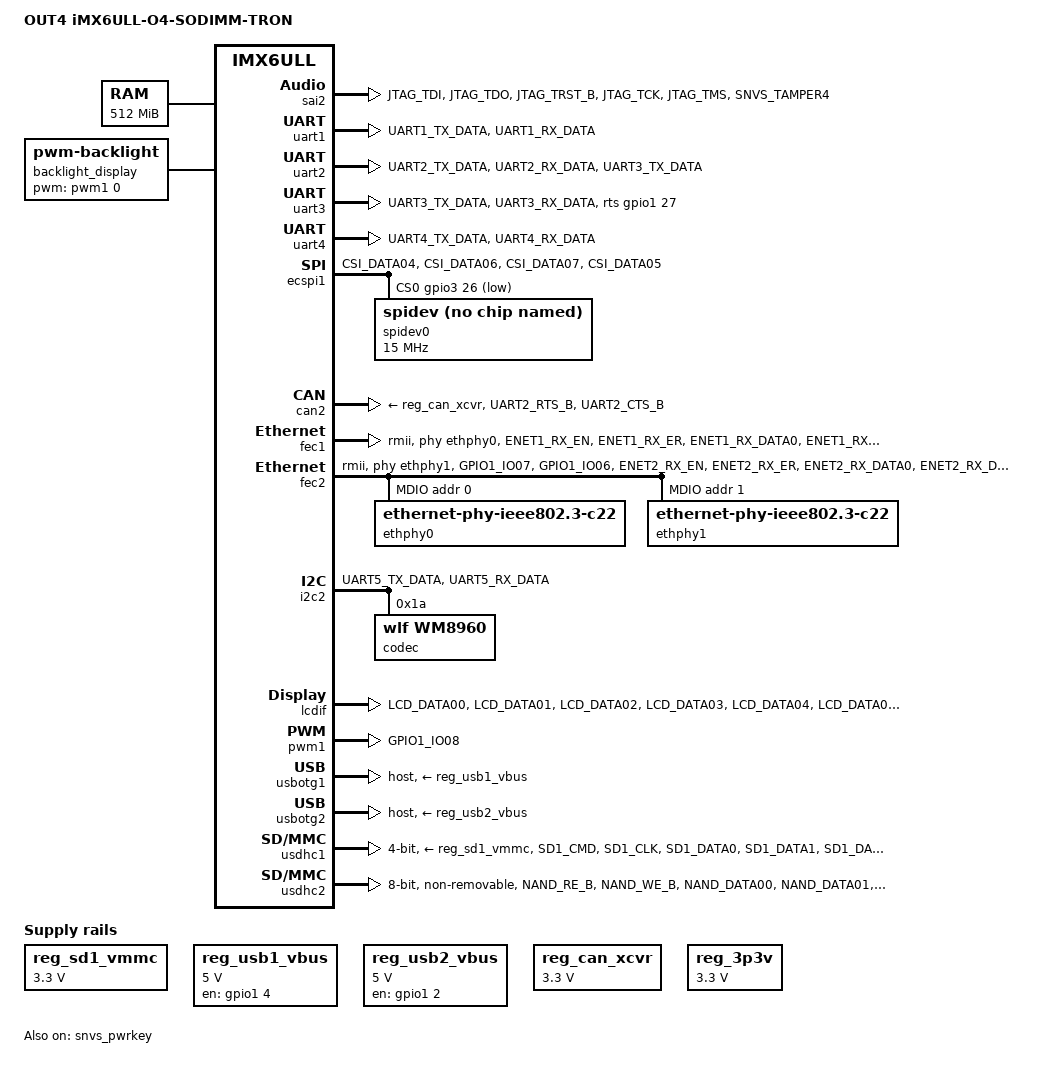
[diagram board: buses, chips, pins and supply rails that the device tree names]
/*
 * Copyright (C) 2015 Freescale Semiconductor, Inc.
 *
 * This program is free software; you can redistribute it and/or modify
 * it under the terms of the GNU General Public License version 2 as
 * published by the Free Software Foundation.
 */

 /*
  * EV-iMX6UL-NANO module Rusar-V12
  * www.evodbg.com
  * contact  r.sariev@evodbg.com
  */

/dts-v1/;

#include "imx6ull.dtsi"

/ {
        model = "OUT4 iMX6ULL-O4-SODIMM-TRON";
        compatible = "fsl,imx6ull-14x14-evk", "fsl,imx6ull";

        memory {
                reg = <0x80000000 0x20000000>;
        };

        chosen {
                stdout-path = &uart1;
        };

        backlight_display: backlight-display {
                        compatible = "pwm-backlight";
                        pwms = <&pwm1 0 5000000>;
                        brightness-levels = <0 4 8 16 32 64 128 255>;
                        default-brightness-level = <6>;
                        status = "okay";
        };


        reg_sd1_vmmc: regulator-sd1 {
                        compatible = "regulator-fixed";
                        reg = <1>;
                        regulator-name = "VSD_3V3";
                        regulator-min-microvolt = <3300000>;
                        regulator-max-microvolt = <3300000>;
                        regulator-always-on;
                };

        reg_usb1_vbus: regulator-usb1 {
                        compatible = "regulator-fixed";
                        reg = <2>;
                        regulator-name = "usb1_vbus";
                        regulator-min-microvolt = <5000000>;
                        regulator-max-microvolt = <5000000>;
                        gpio = <&gpio1 4 GPIO_ACTIVE_HIGH>;
			            enable-active-high;
                        regulator-always-on;
                };


        reg_usb2_vbus: regulator-usb2 {
                        compatible = "regulator-fixed";
                        reg = <3>;
                        regulator-name = "usb2_vbus";
                        regulator-min-microvolt = <5000000>;
                        regulator-max-microvolt = <5000000>;
                        gpio = <&gpio1 2 GPIO_ACTIVE_HIGH>;
			            enable-active-high;
                        regulator-always-on;
                };

        reg_can_xcvr: regulator-canxcvr {
                        compatible = "regulator-fixed";
                        reg = <4>;
                        regulator-name = "CAN XCVR";
                        regulator-min-microvolt = <3300000>;
                        regulator-max-microvolt = <3300000>;
                        regulator-always-on;
    		    };

    	reg_3p3v: regulator-3p3v {
                        compatible = "regulator-fixed";
                        reg = <9>;
                        regulator-name = "3P3V";
                        regulator-min-microvolt = <3300000>;
                        regulator-max-microvolt = <3300000>;
                        regulator-always-on;
                        regulator-boot-on;
                };

        sound {
                compatible = "simple-audio-card";
                simple-audio-card,name = "mx6ul-wm8960";
                simple-audio-card,format = "i2s";
                simple-audio-card,bitclock-master = <&dailink_master>;
                simple-audio-card,frame-master = <&dailink_master>;
                simple-audio-card,widgets =
                        "Microphone", "Mic Jack",
                        "Line", "Line In",
                        "Line", "Line Out",
                        "Speaker", "Speaker",
                        "Headphone", "Headphone Jack";
                simple-audio-card,routing =
                        "Headphone Jack", "HP_L",
                        "Headphone Jack", "HP_R",
                        "Speaker", "SPK_LP",
                        "Speaker", "SPK_LN",
                        "Speaker", "SPK_RP",
                        "Speaker", "SPK_RN",
                        "LINPUT1", "Mic Jack",
                        "LINPUT3", "Mic Jack",
                        "RINPUT1", "Mic Jack",
                        "RINPUT2", "Mic Jack";

                simple-audio-card,cpu {
                        sound-dai = <&sai2>;
                };

                dailink_master: simple-audio-card,codec {
                        sound-dai = <&codec>;
                        clocks = <&clks IMX6UL_CLK_SAI2>;
                };
        };

};

&sai2 {
        pinctrl-names = "default";
        pinctrl-0 = <&pinctrl_sai2>;
        assigned-clocks = <&clks IMX6UL_CLK_SAI2_SEL>,
                          <&clks IMX6UL_CLK_SAI2>;
        assigned-clock-parents = <&clks IMX6UL_CLK_PLL4_AUDIO_DIV>;
        assigned-clock-rates = <0>, <12288000>;
        fsl,sai-mclk-direction-output;
        status = "okay";
};

&snvs_poweroff {
        status = "okay";
};

&snvs_pwrkey {
        status = "okay";
};




&clks {
	    assigned-clocks = <&clks IMX6UL_CLK_PLL4_AUDIO_DIV>;
	    assigned-clock-rates = <786432000>;
};


&uart1 {                                        // DUART console  pins 13+15
        pinctrl-names = "default";
        pinctrl-0 = <&pinctrl_uart1>;
        status = "okay";
};


&uart2 {                                        // UART2 - RS485 interface pins 17+19+50 (mux with CAN)
        pinctrl-names = "default";
        pinctrl-0 = <&pinctrl_uart2>;
        status = "okay";
};

&uart3 {                                        // UART3 - pins 21 + 23
        pinctrl-names = "default";
        pinctrl-0 = <&pinctrl_uart3>;
        fsl,uart-has-rtscts;
        rts-gpios = <&gpio1 27  GPIO_ACTIVE_HIGH>;
        linux,rs485-enabled-at-boot-time;
        status = "okay";
};

&uart4 {                                        // UART4 - pins 28 + 30
        pinctrl-names = "default";
        pinctrl-0 = <&pinctrl_uart4>;
        status = "okay";
};


&ecspi1 {   
        fsl,spi-num-chipselects = <1>;          
        cs-gpios = <&gpio3 26 GPIO_ACTIVE_LOW
		            >;
        pinctrl-names = "default";
        pinctrl-0 = <&pinctrl_ecspi1>;
        status = "okay";

        spidev0: spi@0 {
                compatible = "spidev";
                reg = <0>;
                spi-max-frequency = <15000000>;
                };
};


&can2 {
        pinctrl-names = "default";              
        pinctrl-0 = <&pinctrl_flexcan2>;
        xceiver-supply = <&reg_can_xcvr>;
        status = "okay";
};


&fec1 {
        pinctrl-names = "default";
        pinctrl-0 = <&pinctrl_enet1>;
        phy-mode = "rmii";
        phy-handle = <&ethphy0>;
        phy-reset-gpios = <&gpio5 1 GPIO_ACTIVE_LOW>;
        phy-reset-duration = <100>;
        status = "okay";
};



&fec2 {
        pinctrl-names = "default";
        pinctrl-0 = <&pinctrl_enet2>;
        phy-mode = "rmii";
        phy-handle = <&ethphy1>;
        status = "okay";

        mdio {
                #address-cells = <1>;
                #size-cells = <0>;

                ethphy0: ethernet-phy@0 {
                        compatible = "ethernet-phy-ieee802.3-c22";
                        reg = <0>;
                };

                ethphy1: ethernet-phy@1 {
                        compatible = "ethernet-phy-ieee802.3-c22";
                        reg = <1>;
                };
        };
};

&gpc {
        fsl,cpu_pupscr_sw2iso = <0x1>;
        fsl,cpu_pupscr_sw = <0x0>;
        fsl,cpu_pdnscr_iso2sw = <0x1>;
        fsl,cpu_pdnscr_iso = <0x1>;
        fsl,ldo-bypass = <0>; /* DCDC, ldo-enable */
};

&i2c2 {
        clock_frequency = <400000>;
        pinctrl-names = "default";
        pinctrl-0 = <&pinctrl_i2c2>;
        status = "okay";

	    codec: wm8960@1a {
                #sound-dai-cells = <0>;
                compatible = "wlf,wm8960";
                reg = <0x1a>;
                wlf,shared-lrclk;
        };

};

&lcdif {
        assigned-clocks = <&clks IMX6UL_CLK_LCDIF_PRE_SEL>;
        assigned-clock-parents = <&clks IMX6UL_CLK_PLL5_VIDEO_DIV>;
        pinctrl-names = "default";
        pinctrl-0 = <&pinctrl_lcdif_dat
                     &pinctrl_lcdif_ctrl>;
        status = "okay";

        display0: display0 {
                                        bits-per-pixel = <32>;
                                        bus-width = <24>;

                                        display-timings {
                                                native-mode = <&timing0>;
                                                timing0: timing0 {
                                                        clock-frequency = <35000000>;
                                                        hactive = <800>;
                                                        vactive = <480>;
                                                        hfront-porch = <40>;
                                                        hback-porch = <40>;
                                                        hsync-len = <48>;
                                                        vback-porch = <29>;
                                                        vfront-porch = <13>;
                                                        vsync-len = <3>;

                                                        hsync-active = <0>;
                                                        vsync-active = <0>;
                                                        de-active = <1>;
                                                        pixelclk-active = <0>;

                                                };
                                        };
                                };
};

&pwm1 {
        #pwm-cells = <2>;
        pinctrl-names = "default";
        pinctrl-0 = <&pinctrl_pwm1>;
        status = "okay";
};



&usbotg1 {
        dr_mode = "host";
        srp-disable;
        hnp-disable;
        adp-disable;
        vbus-supply = <&reg_usb1_vbus>;
        status = "okay";
};

&usbotg2 {
        vbus-supply = <&reg_usb2_vbus>;
        dr_mode = "host";
        disable-over-current;
        status = "okay";
};

&usbphy1 {
        tx-d-cal = <0x5>;
};

&usbphy2 {
        tx-d-cal = <0x5>;
};


&usdhc1 {
        #address-cells = <1>;
        #size-cells = <0>;
        pinctrl-names = "default";
        pinctrl-0 = <&pinctrl_usdhc1>;
        bus-width = <4>;
        cd-gpios = <&gpio1 19 GPIO_ACTIVE_LOW>;
        keep-power-in-suspend;
        wakeup-source;
        vmmc-supply = <&reg_sd1_vmmc>;
        status = "okay";
};

&usdhc2 {
        pinctrl-names = "default";
        pinctrl-0 = <&pinctrl_usdhc2>;
        bus-width = <8>;
        no-1-8-v;
        non-removable;
        keep-power-in-suspend;
        enable-sdio-wakeup;
        status = "okay";
};

&iomuxc {
        pinctrl-names = "default";
        pinctrl-0 = <&pinctrl_hog>;
        pinctrl_hog: hoggrp {
                        fsl,pins = <

// Main Connector                                                                     Module pin

                                // MX6UL_PAD_SD1_CLK__GPIO2_IO17                          4
                                // MX6UL_PAD_SD1_CMD__GPIO2_IO16                          6
                                // MX6UL_PAD_GPIO1_IO00__GPIO1_IO00                       7
                                // MX6UL_PAD_SD1_DATA0__GPIO2_IO18                        8
                                // MX6UL_PAD_SD1_DATA1__GPIO2_IO19                       10
                                // MX6UL_PAD_SD1_DATA2__GPIO2_IO20                       12
                                // MX6UL_PAD_UART1_RX_DATA__GPIO1_IO17                   13
                                // MX6UL_PAD_SD1_DATA3__GPIO2_IO21                       14
                                // MX6UL_PAD_UART1_TX_DATA__GPIO1_IO16                   15
                                // MX6UL_PAD_UART1_RTS_B__GPIO1_IO19                     16
                                // MX6UL_PAD_UART2_RX_DATA__GPIO1_IO21                   17
                                // MX6UL_PAD_CSI_DATA04__GPIO4_IO25                      18
                                // MX6UL_PAD_UART2_TX_DATA__GPIO1_IO20                   19
                                // MX6UL_PAD_CSI_DATA07__GPIO4_IO28                      20
                                // MX6UL_PAD_UART3_RX_DATA__GPIO1_IO25                   21
                                // MX6UL_PAD_CSI_DATA06__GPIO4_IO27                      22
                                // MX6UL_PAD_UART3_TX_DATA__GPIO1_IO24                   23
                                // MX6UL_PAD_CSI_DATA05__GPIO4_IO26                      24
                                // MX6UL_PAD_CSI_PIXCLK__GPIO4_IO18                      25
                                // MX6UL_PAD_LCD_DATA05__GPIO3_IO10                      26
                                // MX6UL_PAD_CSI_MCLK__GPIO4_IO17                        27
                                // MX6UL_PAD_UART4_RX_DATA__GPIO1_IO29                   28
                                // MX6UL_PAD_UART4_TX_DATA__GPIO1_IO28                   30
                                // MX6UL_PAD_UART3_RTS_B__GPIO1_IO27                     32
                                // MX6UL_PAD_CSI_DATA02__GPIO4_IO23                      34
                                // MX6UL_PAD_CSI_DATA01__GPIO4_IO22                      36
                                // MX6UL_PAD_CSI_DATA00__GPIO4_IO21                      38
                                // MX6UL_PAD_CSI_HSYNC__GPIO4_IO20                       40
                                // MX6UL_PAD_CSI_VSYNC__GPIO4_IO19                       42
                                // MX6UL_PAD_LCD_DATA09__GPIO3_IO14                      44
                                // MX6UL_PAD_LCD_DATA08__GPIO3_IO13                      46
                                // MX6UL_PAD_UART2_RTS_B__GPIO1_IO23                     48
                                // MX6UL_PAD_UART2_CTS_B__GPIO1_IO22                     50
                                        
                        >;
                };
              
                pinctrl_enet1: enet1grp {
                        fsl,pins = <
                                MX6UL_PAD_ENET1_RX_EN__ENET1_RX_EN      0x1b0b0
                                MX6UL_PAD_ENET1_RX_ER__ENET1_RX_ER      0x1b0b0
                                MX6UL_PAD_ENET1_RX_DATA0__ENET1_RDATA00 0x1b0b0
                                MX6UL_PAD_ENET1_RX_DATA1__ENET1_RDATA01 0x1b0b0
                                MX6UL_PAD_ENET1_TX_EN__ENET1_TX_EN      0x1b0b0
                                MX6UL_PAD_ENET1_TX_DATA0__ENET1_TDATA00 0x1b0b0
                                MX6UL_PAD_ENET1_TX_DATA1__ENET1_TDATA01 0x1b0b0
                                MX6UL_PAD_ENET1_TX_CLK__ENET1_REF_CLK1  0x4001b031
                                MX6UL_PAD_SNVS_TAMPER1__GPIO5_IO01      0x0b0b0
                        >;
                };

                pinctrl_enet2: enet2grp {
                        fsl,pins = <
                                MX6UL_PAD_GPIO1_IO07__ENET2_MDC         0x1b0b0
                                MX6UL_PAD_GPIO1_IO06__ENET2_MDIO        0x1b0b0
                                MX6UL_PAD_ENET2_RX_EN__ENET2_RX_EN      0x1b0b0
                                MX6UL_PAD_ENET2_RX_ER__ENET2_RX_ER      0x1b0b0
                                MX6UL_PAD_ENET2_RX_DATA0__ENET2_RDATA00 0x1b0b0
                                MX6UL_PAD_ENET2_RX_DATA1__ENET2_RDATA01 0x1b0b0
                                MX6UL_PAD_ENET2_TX_EN__ENET2_TX_EN      0x1b0b0
                                MX6UL_PAD_ENET2_TX_DATA0__ENET2_TDATA00 0x1b0b0
                                MX6UL_PAD_ENET2_TX_DATA1__ENET2_TDATA01 0x1b0b0
                                MX6UL_PAD_ENET2_TX_CLK__ENET2_REF_CLK2  0x4001b031
                        >;
                };

                pinctrl_lcdif_dat: lcdifdatgrp {
                        fsl,pins = <
                                MX6UL_PAD_LCD_DATA00__LCDIF_DATA00  0x79
                                MX6UL_PAD_LCD_DATA01__LCDIF_DATA01  0x79
                                MX6UL_PAD_LCD_DATA02__LCDIF_DATA02  0x79
                                MX6UL_PAD_LCD_DATA03__LCDIF_DATA03  0x79
                                MX6UL_PAD_LCD_DATA04__LCDIF_DATA04  0x79
                                MX6UL_PAD_LCD_DATA05__LCDIF_DATA05  0x79
                                MX6UL_PAD_LCD_DATA06__LCDIF_DATA06  0x79
                                MX6UL_PAD_LCD_DATA07__LCDIF_DATA07  0x79
                                MX6UL_PAD_LCD_DATA08__LCDIF_DATA08  0x79
                                MX6UL_PAD_LCD_DATA09__LCDIF_DATA09  0x79
                                MX6UL_PAD_LCD_DATA10__LCDIF_DATA10  0x79
                                MX6UL_PAD_LCD_DATA11__LCDIF_DATA11  0x79
                                MX6UL_PAD_LCD_DATA12__LCDIF_DATA12  0x79
                                MX6UL_PAD_LCD_DATA13__LCDIF_DATA13  0x79
                                MX6UL_PAD_LCD_DATA14__LCDIF_DATA14  0x79
                                MX6UL_PAD_LCD_DATA15__LCDIF_DATA15  0x79
                                MX6UL_PAD_LCD_DATA16__LCDIF_DATA16  0x79
                                MX6UL_PAD_LCD_DATA17__LCDIF_DATA17  0x79
                                MX6UL_PAD_LCD_DATA18__LCDIF_DATA18  0x79
                                MX6UL_PAD_LCD_DATA19__LCDIF_DATA19  0x79
                                MX6UL_PAD_LCD_DATA20__LCDIF_DATA20  0x79
                                MX6UL_PAD_LCD_DATA21__LCDIF_DATA21  0x79
                                MX6UL_PAD_LCD_DATA22__LCDIF_DATA22  0x79
                                MX6UL_PAD_LCD_DATA23__LCDIF_DATA23  0x79
                        >;
                };

                pinctrl_lcdif_ctrl: lcdifctrlgrp {
                        fsl,pins = <
                                MX6UL_PAD_LCD_CLK__LCDIF_CLK        0x79
                                MX6UL_PAD_LCD_ENABLE__LCDIF_ENABLE  0x79
                                MX6UL_PAD_LCD_HSYNC__LCDIF_HSYNC    0x79
                                MX6UL_PAD_LCD_VSYNC__LCDIF_VSYNC    0x79
                        >;
                };

                pinctrl_pwm1: pwm1grp {
                        fsl,pins = <
                                MX6UL_PAD_GPIO1_IO08__PWM1_OUT   0x110b0
                        >;
                };



		        pinctrl_i2c2: i2c2grp {
                        fsl,pins = <
                                       
                                MX6UL_PAD_UART5_TX_DATA__I2C2_SCL       0x4001b8b0 
                                MX6UL_PAD_UART5_RX_DATA__I2C2_SDA       0x4001b8b0
                        >;
                };

                pinctrl_ecspi1: spi1grp {
                        fsl,pins = <
                                MX6UL_PAD_CSI_DATA04__ECSPI1_SCLK       0x1b0b1
                                MX6UL_PAD_CSI_DATA06__ECSPI1_MOSI       0x1b0b1
                                MX6UL_PAD_CSI_DATA07__ECSPI1_MISO       0x1b0b1
                                MX6UL_PAD_CSI_DATA05__GPIO4_IO26        0x1b0b0         // SPI1_SS0
                        >;
                };

                pinctrl_sai2: sai2grp {
                        fsl,pins = <
                                MX6UL_PAD_JTAG_TDI__SAI2_TX_BCLK        0x17088
                                MX6UL_PAD_JTAG_TDO__SAI2_TX_SYNC        0x17088
                                MX6UL_PAD_JTAG_TRST_B__SAI2_TX_DATA     0x11088
                                MX6UL_PAD_JTAG_TCK__SAI2_RX_DATA        0x11088
                                MX6UL_PAD_JTAG_TMS__SAI2_MCLK           0x17088
                                MX6UL_PAD_SNVS_TAMPER4__GPIO5_IO04      0x17059
                    >;
                };


                pinctrl_uart1: uart1grp {
                        fsl,pins = <
                                MX6UL_PAD_UART1_TX_DATA__UART1_DCE_TX   0x1b0b1           
                                MX6UL_PAD_UART1_RX_DATA__UART1_DCE_RX   0x1b0b1
                        >;
                };

                pinctrl_uart2: uart2grp {
                        fsl,pins = <
                                MX6UL_PAD_UART2_TX_DATA__UART2_DCE_TX   0x1b0b0         
                                MX6UL_PAD_UART2_RX_DATA__UART2_DCE_RX   0x1b0b0
                                MX6UL_PAD_UART3_TX_DATA__UART2_DCE_CTS  0x1b0b0       
                        >;
                };

                pinctrl_uart3: uart3grp {
                        fsl,pins = <        
                                MX6UL_PAD_UART3_TX_DATA__UART3_DCE_TX   0x1b0b1
                                MX6UL_PAD_UART3_RX_DATA__UART3_DCE_RX   0x1b0b1   

                        >;
                };

                pinctrl_uart4: uart4grp {
                        fsl,pins = <
                                MX6UL_PAD_UART4_TX_DATA__UART4_DCE_TX   0x1b0b0        
                                MX6UL_PAD_UART4_RX_DATA__UART4_DCE_RX   0x1b0b0
                        >;
                };

                pinctrl_uart5: uart5grp {                                               
                        fsl,pins = <   
                                MX6UL_PAD_CSI_DATA01__UART5_DCE_RX      0x1b0b1
                                MX6UL_PAD_CSI_DATA00__UART5_DCE_TX      0x1b0b1        
                        >;
                };

                pinctrl_flexcan2: flexcan2grp {
                        fsl,pins = <
                                MX6UL_PAD_UART2_RTS_B__FLEXCAN2_RX      0x1b020
                                MX6UL_PAD_UART2_CTS_B__FLEXCAN2_TX      0x1b020
                >;
                };
            
		        pinctrl_usdhc1: usdhc1grp {
                        fsl,pins = <
                                MX6UL_PAD_SD1_CMD__USDHC1_CMD           0x17059               
                                MX6UL_PAD_SD1_CLK__USDHC1_CLK           0x10059               
                                MX6UL_PAD_SD1_DATA0__USDHC1_DATA0       0x17059
                                MX6UL_PAD_SD1_DATA1__USDHC1_DATA1       0x17059
                                MX6UL_PAD_SD1_DATA2__USDHC1_DATA2       0x17059
                                MX6UL_PAD_SD1_DATA3__USDHC1_DATA3       0x17059   
                                MX6UL_PAD_UART1_RTS_B__GPIO1_IO19       0x17059 /* SD1 CD */                                     
                        >;
                };

                pinctrl_usdhc2: usdhc2grp {
                        fsl,pins = <
                                MX6UL_PAD_NAND_RE_B__USDHC2_CLK         0x10069
                                MX6UL_PAD_NAND_WE_B__USDHC2_CMD         0x17059
                                MX6UL_PAD_NAND_DATA00__USDHC2_DATA0     0x17059
                                MX6UL_PAD_NAND_DATA01__USDHC2_DATA1     0x17059
                                MX6UL_PAD_NAND_DATA02__USDHC2_DATA2     0x17059
                                MX6UL_PAD_NAND_DATA03__USDHC2_DATA3     0x17059
                                MX6UL_PAD_NAND_DATA04__USDHC2_DATA4     0x17059
                                MX6UL_PAD_NAND_DATA05__USDHC2_DATA5     0x17059
                                MX6UL_PAD_NAND_DATA06__USDHC2_DATA6     0x17059
                                MX6UL_PAD_NAND_DATA07__USDHC2_DATA7     0x17059

                        >;
                };
};


